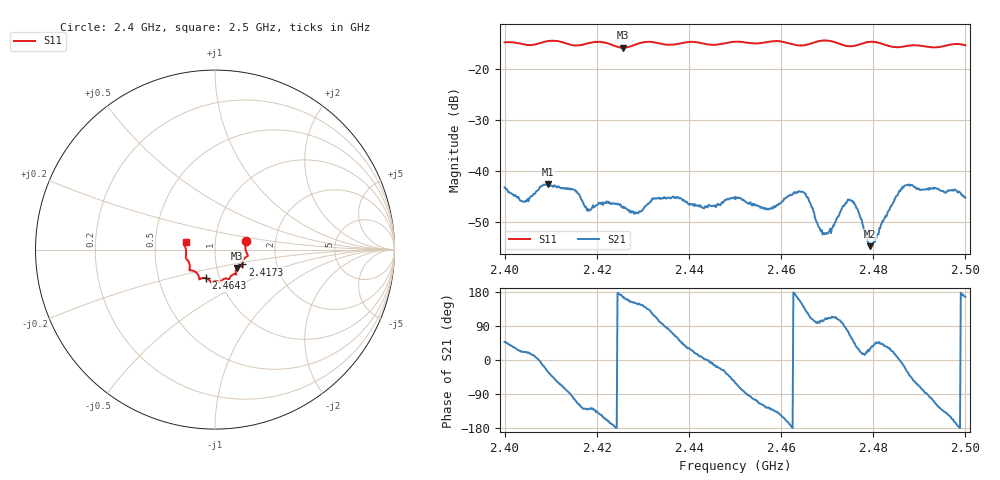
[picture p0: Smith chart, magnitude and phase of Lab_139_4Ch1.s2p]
# Hz S RI R 50
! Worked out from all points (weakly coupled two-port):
!   601 points, 2.4 GHz to 2.5 GHz, reference 50 ohm
!   highest |S21| = -42.61 dB at 2.4093 GHz (marker M1); lowest = -54.8 dB at 2.4793 GHz (marker M2)
!   lowest |S11| = -15.9 dB at 2.4257 GHz (marker M3), VSWR 1.38, Z = 62.4 - j13.1 ohm
!   |S11| at or under -10 dB: start of sweep to end of sweep
!   S12 and S22 are empty: the file has one direction only
!   S11 on the Smith chart (normalised r, x): 2.4 GHz: 1.41, +0.14; 2.4173 GHz: 1.34, -0.23; 2.4643 GHz: 0.86, -0.28; 2.5 GHz: 0.72, +0.06
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2.4e9  0.1736 0.0491  0.00461 0.00509  0 0  0 0
2.404167e9  0.171 0.0229  0.00462 0.00176  0 0  0 0
2.409333e9  0.1828 -0.0302  0.00645 -0.00363  0 0  0 0
2.415e9  0.1589 -0.056  -0.00142 -0.00637  0 0  0 0
2.416667e9  0.1527 -0.0751  -0.00297 -0.00427  0 0  0 0
2.417333e9  0.152 -0.0824  -0.0028 -0.00356  0 0  0 0
2.425667e9  0.1223 -0.1024  -0.00418 0.00109  0 0  0 0
2.428667e9  0.1155 -0.1292  -0.00334 0.00199  0 0  0 0
2.433333e9  0.1125 -0.1366  -0.00145 0.00522  0 0  0 0
2.443167e9  0.0683 -0.1617  0.0043 0.000355  0 0  0 0
2.45e9  0.0295 -0.1807  0.00269 -0.00453  0 0  0 0
2.457333e9  -0.0156 -0.1819  -0.00242 -0.00341  0 0  0 0
2.464333e9  -0.0502 -0.1602  -0.00542 0.003  0 0  0 0
2.466667e9  -0.0763 -0.1594  -0.00143 0.00412  0 0  0 0
2.468167e9  -0.0854 -0.1645  -0.000557 0.00275  0 0  0 0
2.4695e9  -0.0876 -0.1665  -0.00074 0.00227  0 0  0 0
2.474e9  -0.0975 -0.1359  0.000456 0.00481  0 0  0 0
2.475333e9  -0.1097 -0.1236  0.0028 0.00417  0 0  0 0
2.479333e9  -0.1421 -0.115  0.00158 0.000915  0 0  0 0
2.483333e9  -0.1405 -0.0894  0.00349 0.00206  0 0  0 0
2.487333e9  -0.1573 -0.0546  0.00624 -0.0037  0 0  0 0
2.5e9  -0.1637 0.042  -0.00528 0.00129  0 0  0 0
